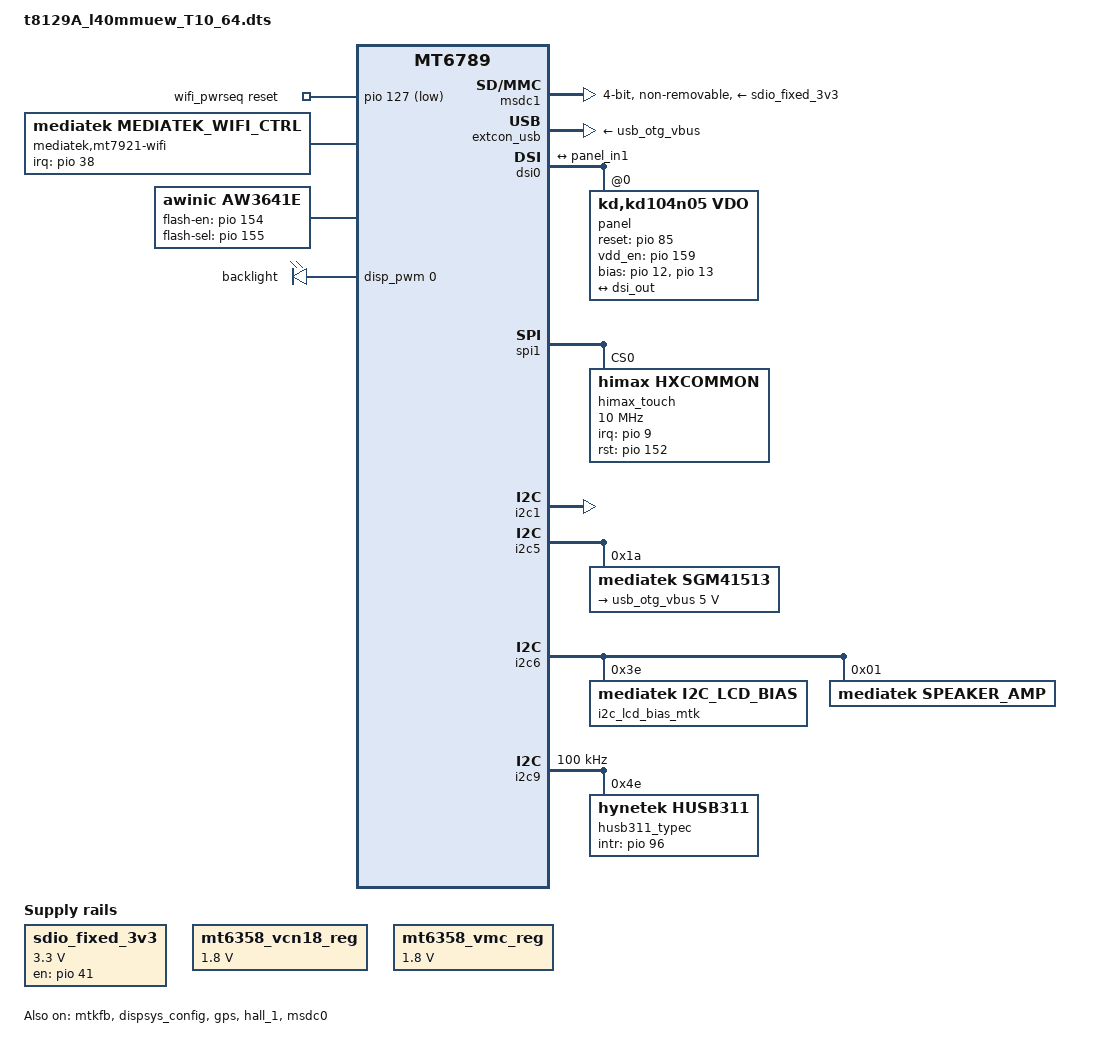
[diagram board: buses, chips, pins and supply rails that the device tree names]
// SPDX-License-Identifier: (GPL-2.0 OR MIT)
/*
 * Copyright (C) 2021 MediaTek Inc.
 */
/dts-v1/;
/plugin/;
#include <dt-bindings/interrupt-controller/arm-gic.h>
#include <dt-bindings/interrupt-controller/irq.h>
#include <dt-bindings/pinctrl/mt6789-pinfunc.h>
#include <dt-bindings/clock/mt6789-clk.h>
#include <dt-bindings/gpio/gpio.h>

#include "mediatek/cust_t8129_l40mmeim_T10_64_camera.dtsi"

#define ROOT_NODE &odm

ROOT_NODE {
	#address-cells = <2>;
	#size-cells = <2>;
	ranges;

	sdio_fixed_3v3: fixedregulator@0 {
		compatible = "regulator-fixed";
		regulator-name = "sdio_fixed_3v3";
		regulator-min-microvolt = <3300000>;
		regulator-max-microvolt = <3300000>;
		enable-active-high;
		regulator-always-on;
		gpio = <&pio 41 GPIO_ACTIVE_HIGH>;
		pinctrl-names = "default";
		pinctrl-0 = <&wifi_v33_en>;
	};

	wifi_pwrseq: wifi-pwrseq {
		compatible = "mmc-pwrseq-simple";
		status = "okay";
		pinctrl-names = "default";
		pinctrl-0 = <&wifi_pins_pwrseq>;
		reset-gpios = <&pio 127 1>;
		post-power-on-delay-ms = <200>;
	};

	mediatek,mt7921-wifi {
		compatible = "mediatek,mediatek_wifi_ctrl";
		interrupt-parent = <&pio>;
		interrupts = <38 IRQ_TYPE_EDGE_FALLING>;
		status = "okay";
	};

	msdc0: msdc@11230000 {
		compatible = "mediatek,mt6779-mmc";
		reg = <0 0x11230000 0 0x10000>,
			<0 0x11f50000 0 0x1000>;
		interrupts = <GIC_SPI 131 IRQ_TYPE_LEVEL_HIGH 0>;
		clocks = <&topckgen_clk CLK_TOP_MSDC50_0_HCLK_SEL>,
			<&topckgen_clk CLK_TOP_MSDC50_0_SEL>,
			<&topckgen_clk CLK_TOP_AES_MSDCFDE_SEL>,
			<&infracfg_ao_clk CLK_IFRAO_MSDC0>,
			<&infracfg_ao_clk CLK_IFRAO_MSDC0_SRC>,
			<&infracfg_ao_clk CLK_IFRAO_MSDC0_AES>;
		clock-names = "bus_clk", "source", "crypto_clk",
			"hclk", "source_cg", "crypto_cg";
		status = "disabled";
	};

	msdc1: mmc@11240000 {
		compatible = "mediatek,mt6779-mmc";
		status = "okay";
		reg = <0 0x11240000 0 0x1000>,
		      <0 0x11ef0000 0 0x1000>;
		interrupts = <GIC_SPI 135 IRQ_TYPE_LEVEL_HIGH 0>;
		clocks = <&topckgen_clk CLK_TOP_MSDC30_1_SEL>,
			<&infracfg_ao_clk CLK_IFRAO_MSDC1>,
			<&infracfg_ao_clk CLK_IFRAO_MSDC1_SRC>;
		clock-names = "source", "hclk", "source_cg";
		host-index = <1>;
		pinctrl-names = "default", "state_uhs", "state_eint", "state_dat1";
		pinctrl-0 = <&mmc1_pins_default>;
		pinctrl-1 = <&mmc1_pins_uhs>;
		pinctrl-2 = <&mmc1_pins_eint>;
		pinctrl-3 = <&mmc1_pins_dat1>;
		eint-gpios = <&pio 74 0>;
		bus-width = <4>;
		max-frequency = <200000000>;
		cap-sd-highspeed;
		sd-uhs-sdr50;
		sd-uhs-sdr104;
		cap-sdio-irq;
		cap-sdio-async-int;
		no-sd;
		no-mmc;
		keep-power-in-suspend;
		enable-sdio-wakeup;
		non-removable;
		vmmc-supply = <&sdio_fixed_3v3>;
		vqmmc-supply = <&mt6358_vcn18_reg>;
		dvfsrc-vcore-supply = <&dvfsrc_vcore>;
		max-vcore-volt = <725000>;
		resets = <&infracfg_rst 4>;
		reset-names = "hrst";
		mmc-pwrseq = <&wifi_pwrseq>;
		pins_wow {
			pinmux = <PINMUX_GPIO38__FUNC_GPIO38>;
			input-enable;
			bias-disable;
		};
	};

	/* aw3641e flash  */
	aw3641e:aw3641e {
		compatible = "awinic,aw3641e";
		flash-en-gpio = <&pio 154 0>;
		flash-sel-gpio = <&pio 155 0>;
		status = "okay";
	};
	flash@0{
		reg = <0>;
		type = <0>;
		ct = <0>;
		part = <0>;
		port@0 {
			fl_core_0: endpoint {
				remote-endpoint = <&flashlight_0>;
			};
		};
	};
	flash@1{
		reg = <1>;
		type = <0>;
		ct = <1>;
		part = <0>;
		port@1 {
			fl_core_1: endpoint {
				remote-endpoint = <&flashlight_1>;
			};
		};
	};
};

&mtk_composite_v4l2_1 {
	port@0 {
		flashlight_0: endpoint {
			remote-endpoint = <&fl_core_0>;
		};
	};
	port@1 {
		flashlight_1: endpoint {
			remote-endpoint = <&fl_core_1>;
		};
	};
};

&chosen {

};

&android {
	hardware = "mt8781";
};

&mtk_leds {
	compatible = "mediatek,pwm-leds";

	backlight {
		led_mode = <5>;
		pwms =  <&disp_pwm 0 39285>;
		pwm_config = <0 1 0 0 0>;
	};
};

&pio {
	mtkfb_pins_lcm_led_enp_gpio: lcd_bias_enp0_gpio {
		pins_cmd_dat {
			pinmux = <PINMUX_GPIO12__FUNC_GPIO12>;
			slew-rate = <1>;
			output-low;
		};
	};

	mtkfb_pins_lcm_led_enn_gpio: lcd_bias_enn0_gpio {
		pins_cmd_dat {
			pinmux = <PINMUX_GPIO13__FUNC_GPIO13>;
			slew-rate = <1>;
			output-low;
		};
	};

	mtkfb_pins_lcm_rst_out0_gpio: lcm_rst_out0_gpio {
		pins_cmd_dat {
			pinmux = <PINMUX_GPIO85__FUNC_GPIO85>;
			slew-rate = <1>;
			output-low;
		};
	};

	i2c1_pin: i2c1_pin {
		pins_cmd0_dat {
			pinmux = <PINMUX_GPIO132__FUNC_SCP_SCL0>;
			bias-pull-up;
		};
		pins_cmd1_dat {
			pinmux = <PINMUX_GPIO133__FUNC_SCP_SDA0>;
			bias-pull-up;
		};
	};

	i2c5_pin: i2c5_pin {
		pins_cmd0_dat {
			pinmux = <PINMUX_GPIO140__FUNC_SCL5>;
			bias-pull-up;
		};
		pins_cmd1_dat {
			pinmux = <PINMUX_GPIO141__FUNC_SDA5>;
			bias-pull-up;
		};
	};

	i2c9_pin: i2c9_pin {
		pins_cmd0_dat {
			pinmux = <PINMUX_GPIO148__FUNC_SCL9>;
			bias-pull-up;
		};
		pins_cmd1_dat {
			pinmux = <PINMUX_GPIO149__FUNC_SDA9>;
			bias-pull-up;
		};
	};

	husb311_int: husb311_int_pin {
		pins_cmd0_dat {
			pinmux = <PINMUX_GPIO96__FUNC_GPIO96>;
			bias-pull-up;
			input-enable;
		};
	};

	wifi_v33_en: wifi_v33_en_pin {
		pins_cmd0_dat {
			pinmux = <PINMUX_GPIO41__FUNC_GPIO41>;
			output-high;
		};
	};
};

&charger {
	charger = <&sgm41513>;
	battery_cv = <4400000>;
	/* charging current */
	usb_charger_current = <500000>;
	ac_charger_current = <2050000>;
	ac_charger_input_current = <2050000>;
	charging_host_charger_current = <1500000>;

	max_charger_voltage = <12000000>;

	/* dynamic mivr */
	enable_dynamic_mivr;
	min_charger_voltage_1 = <4400000>;
	min_charger_voltage_2 = <4400000>;
	max_dmivr_charger_current = <1800000>;
};

&pdc {
		min_charger_voltage = <4500000>;
		pd_vbus_low_bound = <5000000>;
		pd_vbus_upper_bound = <9000000>;
};

&extcon_usb {
	status= "okay";
	vbus-supply = <&usb_otg_vbus>;
	vbus-voltage;
	vbus-current;
	charger = <&sgm41513>;
};

&mtk_gauge {
	charger = <&sgm41513>;
};

&mtk_ctd {
	bc12 = <&sgm41513>;
	bc12_sel = <0>;
};

&mtkfb {
	pinctrl-names = "lcd_bias_enp0_gpio", "lcd_bias_enn0_gpio", "lcm_rst_out0_gpio";
	pinctrl-0 = <&mtkfb_pins_lcm_led_enp_gpio>;
	pinctrl-1 = <&mtkfb_pins_lcm_led_enn_gpio>;
	pinctrl-2 = <&mtkfb_pins_lcm_rst_out0_gpio>;
	status = "okay";
};

&dispsys_config {
	pinctrl-names = "lcm_rst_out0_gpio";
	pinctrl-0 = <&mtkfb_pins_lcm_rst_out0_gpio>;
	status = "okay";
};

&dsi0 {
	status = "okay";
	#address-cells = <1>;
	#size-cells = <0>;
	panel@0 {
		compatible = "kd,kd104n05,vdo";
		reg = <0>;
		reset-gpios = <&pio 85 0>;
		vdd_en-gpios = <&pio 159 0>;
		bias-gpios = <&pio 12 0>, <&pio 13 0>;
		pinctrl-names = "default";
		port {
			panel_in1: endpoint {
				remote-endpoint = <&dsi_out>;
			};
		};
	};
	ports {
		port {
			dsi_out: endpoint {
				remote-endpoint = <&panel_in1>;
			};
		};
	};
};

&mmc0 {
	status = "disabled";
};
&mmc1 {
	status = "disabled";
};

&mt6358_vcn18_reg {
	regulator-min-microvolt = <1800000>;
	regulator-max-microvolt = <1800000>;
	regulator-always-on;
};

&mt6358_vmc_reg {
	regulator-min-microvolt = <1800000>;
	regulator-max-microvolt = <1800000>;
	regulator-always-on;
};

/* GPS GPIO standardization start */
&pio {
	gps_pins_default: gps_default {
	};
	gps_l1_lna_pins_ol: gps_l1_lna@0 {
		pins_cmd_dat {
			pinmux = <PINMUX_GPIO25__FUNC_GPIO25>;
			output-low;
		};
	};
	gps_l1_lna_pins_dsp_ctrl: gps_l1_lna@1 {
		pins_cmd_dat {
			pinmux = <PINMUX_GPIO25__FUNC_GPS_L1_ELNA_EN>;
		};
	};
	gps_l1_lna_pins_oh: gps_l1_lna@2 {
		pins_cmd_dat {
			pinmux = <PINMUX_GPIO25__FUNC_GPIO25>;
			output-high;
		};
	};
	gps_l5_lna_pins_ol: gps_l5_lna@0 {
		pins_cmd_dat {
			pinmux = <PINMUX_GPIO26__FUNC_GPIO26>;
			output-low;
		};
	};
	gps_l5_lna_pins_dsp_ctrl: gps_l5_lna@1 {
		pins_cmd_dat {
			pinmux = <PINMUX_GPIO26__FUNC_GPS_L5_ELNA_EN>;
		};
	};
	gps_l5_lna_pins_oh: gps_l5_lna@2 {
		pins_cmd_dat {
			pinmux = <PINMUX_GPIO26__FUNC_GPIO26>;
			output-high;
		};
	};

	mmc1_pins_default: mmc1default {
		pins_cmd_dat {
			pinmux = <PINMUX_GPIO72__FUNC_MSDC1_CMD>,
				<PINMUX_GPIO73__FUNC_MSDC1_DAT0>,
				<PINMUX_GPIO74__FUNC_MSDC1_DAT1>,
				<PINMUX_GPIO75__FUNC_MSDC1_DAT2>,
				<PINMUX_GPIO76__FUNC_MSDC1_DAT3>;
			drive-strength = <MTK_DRIVE_6mA>;
			input-enable;
			bias-pull-up = <MTK_PUPD_SET_R1R0_01>;
		};

		pins_clk {
			pinmux = <PINMUX_GPIO71__FUNC_MSDC1_CLK>;
			drive-strength = <MTK_DRIVE_6mA>;
			bias-pull-down = <MTK_PUPD_SET_R1R0_10>;
			input-enable;
		};
	};

	mmc1_pins_uhs: mmc1 {
		pins_cmd_dat {
			pinmux = <PINMUX_GPIO72__FUNC_MSDC1_CMD>,
				<PINMUX_GPIO73__FUNC_MSDC1_DAT0>,
				<PINMUX_GPIO74__FUNC_MSDC1_DAT1>,
				<PINMUX_GPIO75__FUNC_MSDC1_DAT2>,
				<PINMUX_GPIO76__FUNC_MSDC1_DAT3>;
			drive-strength = <MTK_DRIVE_6mA>;
			input-enable;
			bias-pull-up = <MTK_PUPD_SET_R1R0_01>;
		};

		pins_clk {
			pinmux = <PINMUX_GPIO71__FUNC_MSDC1_CLK>;
			drive-strength = <MTK_DRIVE_6mA>;
			bias-pull-down = <MTK_PUPD_SET_R1R0_10>;
			input-enable;
		};
	};

	mmc1_pins_eint: mmc1eint {
		pins_dat1 {
			pinmux = <PINMUX_GPIO74__FUNC_GPIO74>;
			input-enable;
			bias-pull-up = <MTK_PUPD_SET_R1R0_01>;
		};
	};

	mmc1_pins_dat1: mmc1dat1 {
		pins_dat1 {
			pinmux = <PINMUX_GPIO74__FUNC_MSDC1_DAT1>;
			drive-strength = <MTK_DRIVE_6mA>;
			bias-pull-up = <MTK_PUPD_SET_R1R0_01>;
		};
	};

	wifi_pins_pwrseq: wifipwrseq {
		pins_wifi_enable {
			pinmux = <PINMUX_GPIO127__FUNC_GPIO127>;
			drive-strength = <MTK_DRIVE_6mA>;
			output-low;
		};
	};
};
&gps {
	pinctrl-names = "default",
		"gps_l1_lna_disable",
		"gps_l1_lna_dsp_ctrl",
		"gps_l1_lna_enable",
		"gps_l5_lna_disable",
		"gps_l5_lna_dsp_ctrl",
		"gps_l5_lna_enable";
	pinctrl-0 = <&gps_pins_default>;
	pinctrl-1 = <&gps_l1_lna_pins_ol>;
	pinctrl-2 = <&gps_l1_lna_pins_dsp_ctrl>;
	pinctrl-3 = <&gps_l1_lna_pins_oh>;
	pinctrl-4 = <&gps_l5_lna_pins_ol>;
	pinctrl-5 = <&gps_l5_lna_pins_dsp_ctrl>;
	pinctrl-6 = <&gps_l5_lna_pins_oh>;
	status = "okay";
};
/* GPS GPIO standardization end */

/*#include "mediatek/cust_mt6789_touch_1200x2000.dtsi"*/
&spi1 {
	status = "okay";
	#address-cells = <1>;
	#size-cells = <0>;
	himax_touch@0 {
		compatible = "himax,hxcommon";
		reg = <0>; //Same as CS ID
		spi-max-frequency = <10000000>;
		spi-cpha;
		interrupt-parent = <&pio>;
		himax,irq-gpio = <&pio 9 0x2800>;
		himax,rst-gpio = <&pio 152 0x0000>;
		//himax,lcm-id0 = <&pio 109 0x0000>;
		//himax,lcm-id1 = <&pio 98 0x0000>;
		himax_firmware_name = "kd104";	//only allow 5 lens
		himax,panel-coords = <0 1200 0 2000>;
		himax,display-coords = <1200 2000>;
		report_type = <1>;
	};
};

&mt6375 {
	status = "disabled";
};

&afe {
	pinctrl-names = "aud_clk_mosi_off",
			"aud_clk_mosi_on",
			"aud_clk_miso_off",
			"aud_clk_miso_on",
			"aud_dat_mosi_off",
			"aud_dat_mosi_on",
			"aud_dat_miso0_off",
			"aud_dat_miso0_on",
			"aud_dat_miso1_off",
			"aud_dat_miso1_on",
			"aud_gpio_i2s2_off",
			"aud_gpio_i2s2_on",
			"aud_gpio_i2s1_off",
			"aud_gpio_i2s1_on",
			"vow_dat_miso_off",
			"vow_dat_miso_on",
			"vow_clk_miso_off",
			"vow_clk_miso_on";

	pinctrl-10 = <&aud_gpio_i2s2_off>;
	pinctrl-11 = <&aud_gpio_i2s2_on>;
	pinctrl-12 = <&aud_gpio_i2s1_off>;
	pinctrl-13 = <&aud_gpio_i2s1_on>;

	i2s3-share = "I2S0";
};

&pio {
	aud_gpio_i2s2_off: aud_gpio_i2s2_off {
		pins_cmd1_dat {
			pinmux = <PINMUX_GPIO53__FUNC_GPIO53>;
			input-enable;
			bias-pull-down;
		};
	};
	aud_gpio_i2s2_on: aud_gpio_i2s2_on {
		pins_cmd1_dat {
			pinmux = <PINMUX_GPIO53__FUNC_I2S2_DI>;
			input-schmitt-enable;
			bias-disable;
		};
	};
	aud_gpio_i2s1_off: aud_gpio_i2s1_off {
		pins_cmd1_dat {
			pinmux = <PINMUX_GPIO50__FUNC_GPIO50>;
			input-enable;
			bias-pull-down;
		};
		pins_cmd2_dat {
			pinmux = <PINMUX_GPIO51__FUNC_GPIO51>;
			input-enable;
			bias-pull-down;
		};
		pins_cmd3_dat {
			pinmux = <PINMUX_GPIO52__FUNC_GPIO52>;
			input-enable;
			bias-pull-down;
		};
	};
	aud_gpio_i2s1_on: aud_gpio_i2s1_on {
		pins_cmd1_dat {
			pinmux = <PINMUX_GPIO50__FUNC_I2S1_DO>;
			input-schmitt-enable;
			bias-disable;
		};
		pins_cmd2_dat {
			pinmux = <PINMUX_GPIO51__FUNC_I2S1_BCK>;
			input-schmitt-enable;
			bias-disable;
		};
		pins_cmd3_dat {
			pinmux = <PINMUX_GPIO52__FUNC_I2S1_LRCK>;
			input-schmitt-enable;
			bias-disable;
		};
	};
};

&i2c1 {
	status = "okay";
	pinctrl-names = "default";
	pinctrl-0 = <&i2c1_pin>;	/*sensorhub*/
};

&i2c5 {
	status = "okay";
	pinctrl-names = "default";
	pinctrl-0 = <&i2c5_pin>;

	sgm41513: sgm41513@1A {
		status = "okay";
		compatible = "mediatek,sgm41513";
		reg = <0x1A>;
		charger_name = "primary_chg";
		//interrupt-parent = <&pio>;
		//interrupts = <4 IRQ_TYPE_EDGE_FALLING>;
		//interrupt-names = "chr_stat";

		usb_otg_vbus: usb-otg-vbus {
			regulator-compatible = "usb-otg-vbus";
			regulator-name = "usb-otg-vbus";
			regulator-min-microvolt = <5000000>;
			regulator-max-microvolt = <5000000>;
		};
	};
};

&i2c6 {
	i2c_lcd_bias_mtk:i2c_lcd_bias@3e {
		compatible = "mediatek,i2c_lcd_bias";
		reg = <0x3e>;
		id = <6>;
		status = "okay";
	};

	speaker_amp: speaker_amp@1 {
		compatible = "mediatek,speaker_amp";
		#sound-dai-cells = <0>;
		reg = <0x01>;
		status = "okay";
	};
};

&sound {
	//mediatek,spk-i2s = <1 2>;
	ext-amp-gpio = <&pio 6 0>;
	pa_mode = <2>;
	mediatek,speaker-codec {
		sound-dai = <&speaker_amp>;
	};
};

&i2c9 {
	pinctrl-names = "default", "default";
	pinctrl-0 = <&i2c9_pin>;
	pinctrl-1 = <&husb311_int>;

	clock-frequency = <100000>;

	husb311_typec: husb311@4e {
		compatible = "hynetek,husb311";
		reg = <0x4e>;
		status = "okay";
		
		interrupt-parent = <&pio>;
		//interrupts = <96 0x8>;
		tcpc-dual,supported_modes = <0>; /* 0: dfp/ufp, */
						 /* 1: dfp, 2: ufp */
		tcpc,name = "type_c_port0"; /* tcpc_device's name */
		tcpc,role_def = <4>; /* 0: SNK Only, 1: SRC Only, 2: DRP, */
					/* 3: Try.SRC, 4: Try.SNK */
		tcpc,rp_level = <2>; /* 0: Default, 1: 1.5, 2: 3.0 */
		tcpc,vconn_supply  = <0>;  /* 0: Never, 1: Always, */
					      /* 2: EMarkOnly, 3: StartOnly */
#if (CONFIG_MTK_GAUGE_VERSION == 30)
		tcpc,notifier_supply_num = <3>;
#else
		tcpc,notifier_supply_num = <2>;
#endif
		husb311pd,intr_gpio = <&pio 96 0x0>;
		husb311pd,intr_gpio_num = <96>;

		charger = <&sgm41513>;

		pd-data {
			pd,vid = <0x2e99>;
			pd,pid = <0x0311>;
			pd,source-cap-ext = <0x171129cf 0x00000000 0x00000000
					     0x00000000 0x00000000 0x02000000>;
			pd,mfrs = "HynetekTCPC";

			/*
			 *	VSAFE5V = 0, MAX_POWER = 1, CUSTOM = 2,
			 *	MAX_POWER_LV = 0x21, MAX_POWER_LVIC = 0x31
			 *	MAX_POWER_HV = 0x41, MAX_POWER_HVIC = 0x51
			 */
			pd,charging_policy = <0x31>;

			/*
			 * Fixed 5V, 500 mA <0x00019032>
			 * Fixed 5V, 1A <0x00019064>
			 * Fixed 5V, 2A <0x000190c8>
			 * Fixed 5V, 3A <0x0001912c>
			 * Fixed 9V, 500 mA <0x0002d032>
			 * Fixed 9V, 1A <0x0002d064>
			 * Fixed 9V, 2A <0x0002d0c8>
			 * Fixed 9V, 3A <0x0002d12c>
			 * Fixed 12V,2A <0x0003c0c8>
			 * Variable 5-9V, 1A <0x8642d064>
			 * Variable 5-9V, 2A <0x8642d0c8>
			 * Variable 5-9V, 3A <0x8642d12c>
			 * PPS 3V~5.9V, 3A <0xC0761E3C>
			 */
			pd,source-pdo-size = <1>;
			pd,source-pdo-data = <0x00019032>;
			pd,sink-pdo-size = <1>;
			pd,sink-pdo-data = <0x0002d0c8>;

			/*
			 * No DP, host + device
			 *	pd,id-vdo-size = <3>;
			 *	pd,id-vdo-data = <0xd10029cf 0x0 0x17110000>;
			 * With DP
			 *	pd,id-vdo-size = <3>;
			 *	pd,id-vdo-data = <0xd60029cf 0x0 0x17110000
			 */

			pd,id-vdo-size = <3>;
			pd,id-vdo-data = <0xd10029cf 0x0 0x17110000>;

			bat,nr = <1>;
			pd,country_nr = <0>;

			bat-info0 {
				bat,vid = <0x29cf>;
				bat,pid = <0x1711>;
				bat,mfrs = "bat1";
				bat,design_cap = <3000>;
			};

			//bat-info1 {
			//	bat,vid = <0x8abc>;
			//	bat,pid = <0x5234>;
			//	bat,mfrs = "bat2";
			//	bat,design_cap = <4000>;
			//};

			//country0 {
			//	pd,country_code = <0x5457>;
			//	pd,country_len = <2>; /* max len = 26 */
			//	pd,country_data = <0xff 0xff>;
			//};

			//country1 {
			//	pd,country_code = <0x5553>;
			//	pd,country_len = <3>; /* max len = 26 */
			//	pd,country_data = <0xf1 0xf2 0xf3>;
			//};
		};
		dpm_caps {
			local_dr_power;
			local_dr_data;
			//local_ext_power;
			local_usb_comm;
			//local_usb_suspend;
			//local_high_cap;
			//local_give_back;
			local_no_suspend;
			local_vconn_supply;

			//attemp_discover_cable_dfp;
			attemp_enter_dp_mode;
			attemp_discover_cable;
			attemp_discover_id;

			/* 0: disable, 1: prefer_snk, 2: prefer_src */
			pr_check = <0>;
			//pr_reject_as_source;
			//pr_reject_as_sink;
			//pr_check_gp_source;
			//pr_check_gp_sink;

			/* 0: disable, 1: prefer_ufp, 2: prefer_dfp */
			dr_check = <0>;
			//dr_reject_as_dfp;
			//dr_reject_as_ufp;
		};
		displayport {
			/* connection type = "both", "ufp_d", "dfp_d" */
			1st_connection = "dfp_d";
			2nd_connection = "dfp_d";
			signal,dp_v13;
			//signal,dp_gen2;
			usbr20_not_used;
			typec,receptacle;
			ufp_d {
				//pin_assignment,mode_a;
				//pin_assignment,mode_b;
				//pin_assignment,mode_c;
				//pin_assignment,mode_d;
				//pin_assignment,mode_e;
			};
			dfp_d {
				/* Only support mode C & D */
				//pin_assignment,mode_a;
				//pin_assignment,mode_b;
				pin_assignment,mode_c;
				pin_assignment,mode_d;
				pin_assignment,mode_e;
				pin_assignment,mode_f;
			};
		};
	};
};

#include <t8129A_l40mmuew_T10_64/cust.dtsi>

&msdc0 {
	status = "okay";
	compatible = "mediatek,mt6779-mmc";
	host-index = <0>;
	pinctrl-names = "default", "state_uhs";
	pinctrl-0 = <&mmc0_pins_default>;
	pinctrl-1 = <&mmc0_pins_uhs>;
	bus-width = <4>;
	max-frequency = <200000000>;
	ocr-voltage = <0x00030000>;
	cap-sd-highspeed;
	//sd-uhs-sdr12;
	//sd-uhs-sdr25;
	//sd-uhs-sdr50;
	//sd-uhs-sdr104;
	//sd-uhs-ddr50;
	cd-debounce-delay-ms = <0>;
	cd-gpios = <&pio 7 GPIO_ACTIVE_HIGH>;
	vmmc-supply = <&mt6358_vmch_eint_low>;
	vqmmc-supply = <&mt6358_vmc_reg>;
	no-mmc;
	//no-sdio;
	dvfsrc-vcore-supply = <&dvfsrc_vcore>;
	req-vcore = <650000>;
};

&pio {
	mmc0_pins_default: mmc0default {
		pins_cmd_dat {
			pinmux = <PINMUX_GPIO58__FUNC_MSDC0_DAT0>,
				<PINMUX_GPIO59__FUNC_MSDC0_DAT1>,
				<PINMUX_GPIO60__FUNC_MSDC0_DAT2>,
				<PINMUX_GPIO61__FUNC_MSDC0_DAT3>,
				<PINMUX_GPIO56__FUNC_MSDC0_CMD>;
			input-enable;
			drive-strength = <4>;
			bias-pull-up = <MTK_PUPD_SET_R1R0_01>;
		};
		pins_clk {
			pinmux = <PINMUX_GPIO55__FUNC_MSDC0_CLK>;
			drive-strength = <4>;
			bias-pull-down = <MTK_PUPD_SET_R1R0_10>;
		};
	};
	mmc0_pins_uhs: mmc0@0{
		pins_cmd_dat {
			pinmux = <PINMUX_GPIO58__FUNC_MSDC0_DAT0>,
				<PINMUX_GPIO59__FUNC_MSDC0_DAT1>,
				<PINMUX_GPIO60__FUNC_MSDC0_DAT2>,
				<PINMUX_GPIO61__FUNC_MSDC0_DAT3>,
				<PINMUX_GPIO56__FUNC_MSDC0_CMD>;
			input-enable;
			drive-strength = <6>;
			bias-pull-up = <MTK_PUPD_SET_R1R0_01>;
		};
		pins_clk {
			pinmux = <PINMUX_GPIO55__FUNC_MSDC0_CLK>;
			drive-strength = <6>;
			bias-pull-down = <MTK_PUPD_SET_R1R0_10>;
		};
	};

	hall_intpin_default: pin_default {
		pins_cmd_dat {
			pinmux = <PINMUX_GPIO14__FUNC_GPIO14>;
			output-high;
		};
	};
	hall_intpin_cfg: pin_cfg {
		pins_cmd_dat {
			pinmux = <PINMUX_GPIO14__FUNC_GPIO14>;
			input-enable;
		};
	};
};

&hall_1 {
	status = "okay";

	pinctrl-names = "pin_default", "pin_cfg";
	pinctrl-0 = <&hall_intpin_default>;
	pinctrl-1 = <&hall_intpin_cfg>;

	interrupt-parent = <&pio>;
	interrupts = <14 IRQ_TYPE_LEVEL_LOW 14 0>;
	gpio_det_level_hall_pin1 = <&pio 14 0>;
};

#include "mediatek/bat_setting/mt6789_battery_prop.dtsi"

/*End of this file, DO NOT ADD ANYTHING HERE*/
